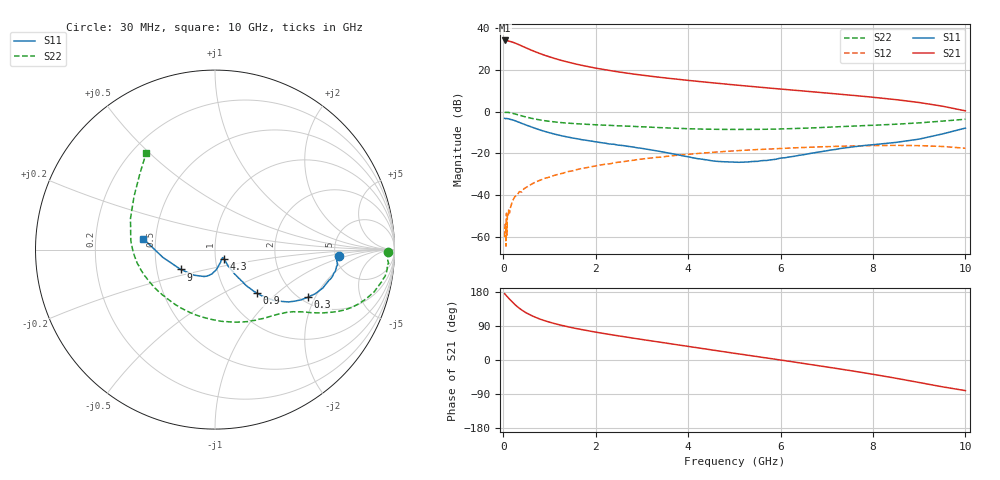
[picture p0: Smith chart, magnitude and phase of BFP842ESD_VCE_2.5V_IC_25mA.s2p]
! Infineon Technologies  Discrete & RF Semiconductors
! BFP842ESD
! VCE =  2.5 V,  IC =  25 mA
! Common Emitter S-Parameters:  May 2012
# GHz  S  MA  R  50
!  f  S11  S21  S12  S22
! GHz  MAG  ANG  MAG  ANG  MAG  ANG  MAG  ANG
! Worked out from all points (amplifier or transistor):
!   99 points, 30 MHz to 10 GHz, reference 50 ohm
!   highest |S21| = 34.1 dB at 30 MHz (marker M1)
!   |S21| within 3 dB of that: start of sweep to 437.4 MHz
!   unconditionally stable (mu >= 1): 58.33 MHz to 60.64 MHz; 2.073 GHz to end of sweep
!   at 350 MHz: K = 0.51, MSG = 35.1 dB, |S12| = -38.3 dB
!   at 3.5 GHz: K = 1.06, MAG = 17.3 dB, |S12| = -21.5 dB
!   at 10 GHz: K = 1.75, MAG = 3.9 dB, |S12| = -17.5 dB
!   S11 on the Smith chart (normalised r, x): 30 MHz: 5.42, -0.76; 300 MHz: 2.18, -1.75; 900 MHz: 1.37, -0.75; 4.3 GHz: 1.10, -0.12; 9 GHz: 0.67, -0.15; 10 GHz: 0.43, +0.06
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0.03  0.6937 -3.0  50.98 175.3  0.001 51.9  0.9626 -0.7
0.05  0.681 -5.2  50.3 172.1  0.002 -60.4  0.9632 -2.8
0.06  0.6843 -6.0  50.95 170.8  0.0006 7.2  0.9645 -3.6
0.07  0.6881 -7.3  50.31 169.6  0.0037 84.8  0.9707 -4.6
0.15  0.6568 -15.2  48.38 158.8  0.0048 67.2  0.9434 -11.2
0.25  0.6115 -23.6  44.48 146.7  0.0092 71.2  0.8859 -18.0
0.3  0.581 -27.2  42.05 141.3  0.0101 71.5  0.8569 -20.6
0.4  0.5255 -33.2  37.66 132.0  0.0119 65.5  0.796 -25.0
0.5  0.4775 -37.3  33.69 124.3  0.0154 72.2  0.744 -27.9
0.6  0.4352 -40.7  30.12 118.0  0.018 67.5  0.7007 -30.2
0.8  0.3643 -44.8  24.61 107.7  0.0229 67.6  0.634 -33.6
0.9  0.337 -46.0  22.47 103.6  0.0254 67.3  0.6088 -34.8
1.2  0.2752 -48.7  17.68 93.3  0.0318 64.9  0.5558 -38.5
1.7  0.2137 -49.9  12.93 80.3  0.0437 59.7  0.5064 -45.0
2.4  0.1655 -51.0  9.327 65.5  0.0596 52.4  0.4649 -56.0
3.4  0.1111 -51.0  6.655 47.0  0.0814 40.6  0.4153 -76.2
4.3  0.0728 -46.0  5.218 30.5  0.1019 28.2  0.3836 -98.8
5.1  0.0613 -47.5  4.292 16.0  0.1172 17.0  0.3761 -118.9
6.7  0.1024 -82.2  2.996 -12.8  0.1416 -6.7  0.4099 -155.6
8.5  0.1841 -129.1  1.945 -48.2  0.156 -38.2  0.5018 159.8
9  0.2206 -149.9  1.661 -59.4  0.154 -48.5  0.5405 146.5
10  0.405 171.3  1.049 -80.8  0.1334 -70.6  0.6597 125.6
